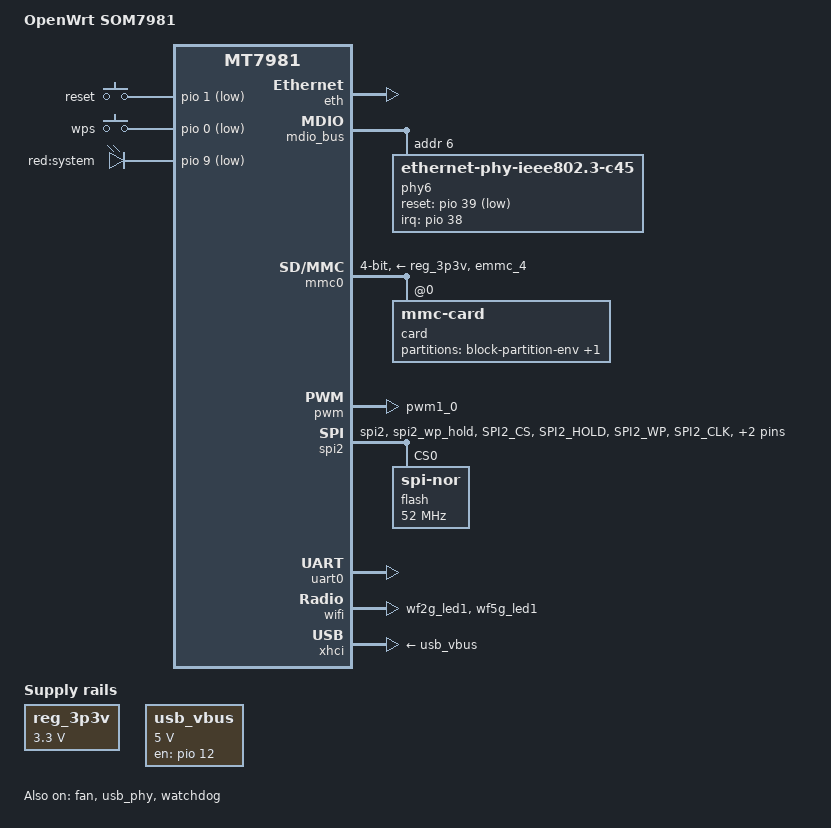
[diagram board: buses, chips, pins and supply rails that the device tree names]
// SPDX-License-Identifier: GPL-2.0-or-later OR MIT
/dts-v1/;

#include "mt7981.dtsi"

/ {
	model = "OpenWrt SOM7981";
	compatible = "openwrt,som7981", "mediatek,mt7981";

	aliases {
		serial0 = &uart0;
		led-boot = &led_sys;
		led-failsafe = &led_sys;
		led-running = &led_sys;
		led-upgrade = &led_sys;
	};

	chosen {
		stdout-path = "serial0:115200n8";
		rootdisk = <&sd_rootdisk>;
	};

	keys {
		compatible = "gpio-keys";

		reset {
			label = "reset";
			linux,code = <KEY_RESTART>;
			gpios = <&pio 1 GPIO_ACTIVE_LOW>;
		};

		wps {
			label = "wps";
			linux,code = <KEY_WPS_BUTTON>;
			gpios = <&pio 0 GPIO_ACTIVE_LOW>;
		};
	};

	leds {
		compatible = "gpio-leds";

		led_sys: sys {
			label = "red:system";
			gpios = <&pio 9 GPIO_ACTIVE_LOW>;
		};
	};

	reg_3p3v: regulator-3p3v {
		compatible = "regulator-fixed";
		regulator-name = "fixed-3.3V";
		regulator-min-microvolt = <3300000>;
		regulator-max-microvolt = <3300000>;
		regulator-boot-on;
		regulator-always-on;
	};

	usb_vbus: regulator-usb-vbus {
		compatible = "regulator-fixed";
		regulator-name = "usb_vbus";
		regulator-min-microvolt = <5000000>;
		regulator-max-microvolt = <5000000>;
		gpios = <&pio 12 GPIO_ACTIVE_HIGH>;
		enable-active-high;
		regulator-boot-on;
	};
};

&eth {
	pinctrl-names = "default";
	pinctrl-0 = <&mdio_pins>;

	status = "okay";

	gmac0: mac@0 {
		compatible = "mediatek,eth-mac";
		reg = <0>;
		phy-mode = "2500base-x";
		phy-handle = <&phy6>;
	};

	gmac1: mac@1 {
		compatible = "mediatek,eth-mac";
		reg = <1>;
		phy-mode = "gmii";
		phy-handle = <&int_gbe_phy>;
	};
};

&mdio_bus {
	phy6: ethernet-phy@6 {
		compatible = "ethernet-phy-ieee802.3-c45";
        reg = <6>;
		reset-assert-us = <600>;
		reset-deassert-us = <20000>;
		reset-gpios = <&pio 39 GPIO_ACTIVE_LOW>;
		interrupts = <38 IRQ_TYPE_LEVEL_LOW>;
		interrupt-parent = <&pio>;

		leds {
			#address-cells = <1>;
			#size-cells = <0>;

			led@2 {
				reg = <2>;
				function = LED_FUNCTION_WAN;
				color = <LED_COLOR_ID_AMBER>;
			};

			led@3 {
				reg = <3>;
				function = LED_FUNCTION_WAN;
				color = <LED_COLOR_ID_GREEN>;
			};
		};
	};
};

&mmc0 {
	pinctrl-names = "default", "state_uhs";
	pinctrl-0 = <&mmc0_pins_sdc>;
	pinctrl-1 = <&mmc0_pins_uhs>;
	bus-width = <4>;
	cap-sd-highspeed;
	max-frequency = <52000000>;
	vmmc-supply = <&reg_3p3v>;
	vqmmc-supply = <&reg_3p3v>;
	#address-cells = <1>;
	#size-cells = <1>;
	status = "okay";

	card@0 {
		compatible = "mmc-card";
		reg = <0>;

		block {
			compatible = "block-device";

			partitions {
				block-partition-env {
					partname = "ubootenv";

					nvmem-layout {
						compatible = "u-boot,env";
					};
				};

				sd_rootdisk: production {
					partname = "production";
				};
			};
		};
	};
};

&pwm {
	pinctrl-names = "default";
	pinctrl-0 = <&pwm_pins>;
	status = "okay";
};

&fan {
	pwms = <&pwm 1 40000 0>;
	status = "okay";
};

&pio {
	mmc0_pins_sdc: mmc0-pins-sdc {
		mux {
			function = "flash";
			groups = "emmc_4";
		};
	};

	mmc0_pins_uhs: mmc0-pins-uhs {
		mux {
			function = "flash";
			groups = "emmc_4";
		};
	};

	pwm_pins: pwm-pins {
		mux {
			function = "pwm";
			groups = "pwm1_0";
		};
	};

	spi2_flash_pins: spi2-pins {
		mux {
			function = "spi";
			groups = "spi2", "spi2_wp_hold";
		};

		conf-pu {
			pins = "SPI2_CS", "SPI2_HOLD", "SPI2_WP";
			drive-strength = <MTK_DRIVE_8mA>;
			bias-pull-up = <MTK_PUPD_SET_R1R0_11>;
		};

		conf-pd {
			pins = "SPI2_CLK", "SPI2_MOSI", "SPI2_MISO";
			drive-strength = <MTK_DRIVE_8mA>;
			bias-pull-down = <MTK_PUPD_SET_R1R0_11>;
		};
	};

	wf_led_pins: wf-led-pins {
		mux {
			function = "led";
			groups = "wf2g_led1", "wf5g_led1";
		};
	};
};

&spi2 {
	pinctrl-names = "default";
	pinctrl-0 = <&spi2_flash_pins>;
	status = "okay";

	flash@0 {
		compatible = "jedec,spi-nor";
		#address-cells = <1>;
		#size-cells = <1>;
		reg = <0>;
		spi-max-frequency = <52000000>;
	};
};

&uart0 {
	status = "okay";
};

&usb_phy {
	status = "okay";
};

&watchdog {
	status = "okay";
};

&wifi {
	pinctrl-0 = <&wifi_dbdc_pins>, <&wf_led_pins>;
	status = "okay";
};

&xhci {
	vbus-supply = <&usb_vbus>;

	status = "okay";
};
